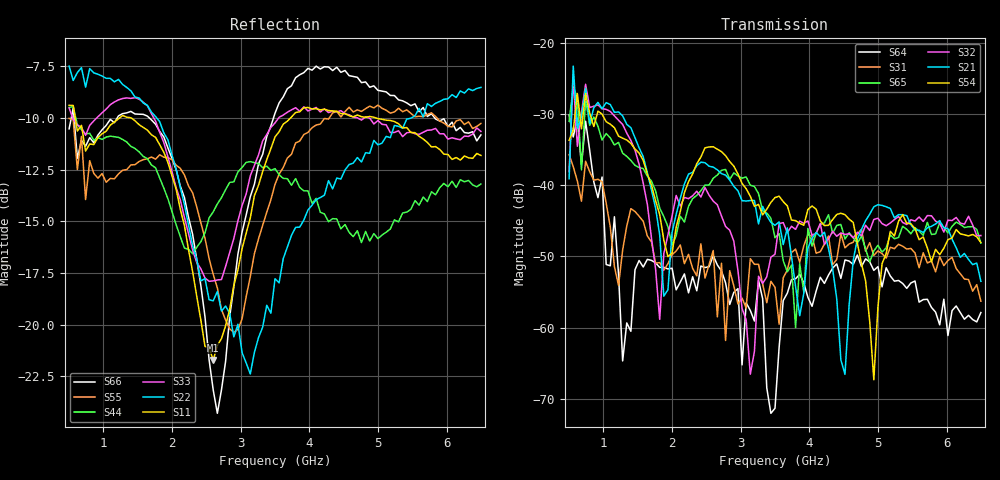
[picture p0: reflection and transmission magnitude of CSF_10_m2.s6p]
!Keysight Technologies,M9804A,MY58100912,A.14.10.03
!Date: Thursday, April 27, 2023 10:28:33
!Correction: S11(C  6-Port  )
!S12(C  6-Port  )
!S13(C  6-Port  )
!S14(C  6-Port  )
!S15(C  6-Port  )
!S16(C  6-Port  )
!S21(C  6-Port  )
!S22(C  6-Port  )
!S23(C  6-Port  )
!S24(C  6-Port  )
!S25(C  6-Port  )
!S26(C  6-Port  )
!S31(C  6-Port  )
!S32(C  6-Port  )
!S33(C  6-Port  )
!S34(C  6-Port  )
!S35(C  6-Port  )
!S36(C  6-Port  )
!S41(C  6-Port  )
!S42(C  6-Port  )
!S43(C  6-Port  )
!S44(C  6-Port  )
!S45(C  6-Port  )
!S46(C  6-Port  )
!S51(C  6-Port  )
!S52(C  6-Port  )
!S53(C  6-Port  )
!S54(C  6-Port  )
!S55(C  6-Port  )
!S56(C  6-Port  )
!S61(C  6-Port  )
!S62(C  6-Port  )
!S63(C  6-Port  )
!S64(C  6-Port  )
!S65(C  6-Port  )
!S66(C  6-Port  )
!S6P File: Measurement: :
# Hz S  RI  R 50
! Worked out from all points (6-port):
!   101 points, 500 MHz to 6.5 GHz, reference 50 ohm
!   strongest paths, dB at 500 MHz, 2 GHz, 3.5 GHz, 5 GHz, 6.5 GHz:
!     S54: -33.7, -49.5, -41.7, -57.1, -48.1
!     S21: -39.1, -46.7, -45.6, -42.7, -53.5
!     S32: -38.1, -44.3, -49.7, -44.6, -47.1
!     S65: -31.0, -48.4, -47.4, -48.4, -48.1
!     S31: -35.7, -49.8, -54.3, -49.2, -56.3
!     S64: -30.1, -51.7, -71.3, -51.4, -57.9
!   lowest |S11| = -21.7 dB at 2.6 GHz (marker M1), VSWR 1.18, Z = 42.7 + j2.1 ohm
!   |S11| at or under -10 dB: 589.2 MHz to 1.236 GHz (646.8 MHz wide, 70.9 % of centre); 1.403 GHz to 3.727 GHz (2.323 GHz wide, 90.6 % of centre); 4.969 GHz to end of sweep
